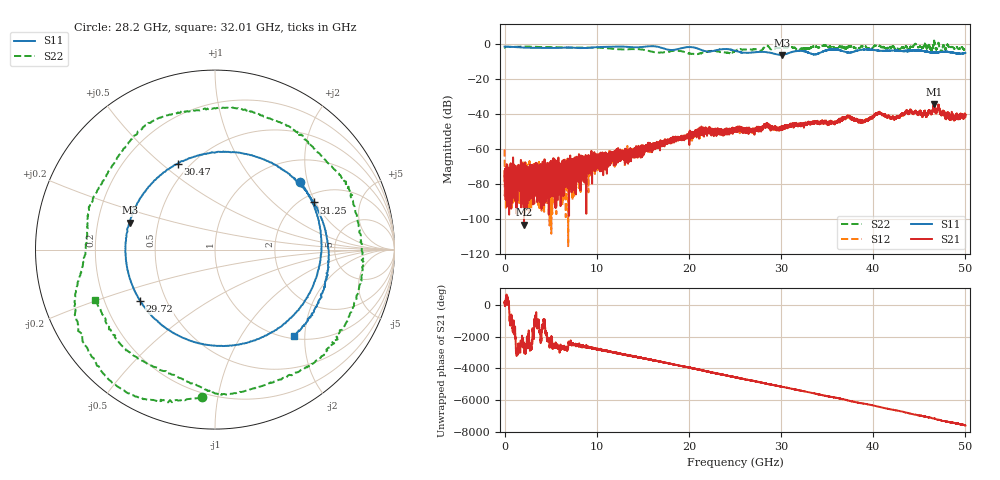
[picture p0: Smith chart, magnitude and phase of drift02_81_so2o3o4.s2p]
!Created with skrf (http://scikit-rf.org).
# Hz S RI R 50.0
!freq ReS11 ImS11 ReS21 ImS21 ReS12 ImS12 ReS22 ImS22
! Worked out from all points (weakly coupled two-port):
!   10001 points, 300 kHz to 50 GHz, reference 50 ohm
!   highest |S21| = -34.16 dB at 46.61 GHz (marker M1); lowest = -103.3 dB at 2.11 GHz (marker M2)
!   lowest |S11| = -6.1 dB at 30.1 GHz (marker M3), VSWR 2.98, Z = 17.1 + j6.84 ohm
!   |S11| at or under -10 dB: nowhere
!   |S22| runs from -5.7 to 2.2 dB; largest |S21 - S12| = 0.0041
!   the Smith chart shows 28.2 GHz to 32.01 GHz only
!   S11 on the Smith chart (normalised r, x): 28.2 GHz: 1.51, +1.80; 29.72 GHz: 0.36, -0.27; 30.47 GHz: 0.43, +0.57; 31.25 GHz: 2.32, +1.95; 32.01 GHz: 1.05, -1.77
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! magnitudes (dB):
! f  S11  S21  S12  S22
! 300 kHz  -1.3  -78.4  -60.2  -2.1
! 270.3 MHz  -1.4  -83.5  -72.3  -1.4
! 2.11 GHz  -1.9  -103.3  -86.2  -1.3
! 6.22 GHz  -1.9  -77.6  -73.1  -1.7
! 8.335 GHz  -2.2  -72.6  -66.3  -1.9
! 16.67 GHz  -1.4  -59.0  -56.7  -4.7
! 21.57 GHz  -3.6  -49.8  -49.3  -4.6
! 25 GHz  -3.7  -49.6  -48.9  -3.9
! 28.2 GHz  -4.4  -46.8  -46.6  -1.7
! 29.72 GHz  -5.9  -48.1  -48.9  -2.1
! 30.1 GHz  -6.1  -48.1  -47.7  -1.9
! 30.47 GHz  -5.6  -46.8  -47.1  -1.7
! 31.25 GHz  -4.3  -45.7  -46.2  -1.8
! 32.01 GHz  -3.7  -46.4  -46.1  -2.8
! 33.34 GHz  -5.5  -44.5  -44.4  -1.6
! 37.27 GHz  -4.7  -41.3  -41.2  -1.3
! 38.86 GHz  -3.0  -44.5  -44.2  -1.3
! 40.67 GHz  -3.7  -39.3  -38.6  -0.8
! 41.67 GHz  -3.7  -41.6  -40.9  -1.9
! 46.61 GHz  -4.7  -34.2  -34.3  2.2
! 48.51 GHz  -4.6  -40.6  -40.7  -1.5
! 50 GHz  -4.9  -41.4  -40.1  -2.7
